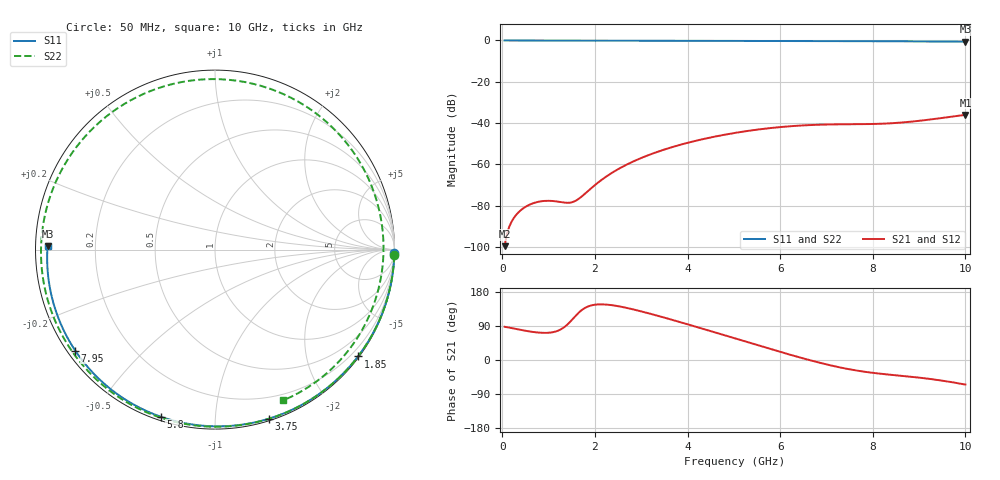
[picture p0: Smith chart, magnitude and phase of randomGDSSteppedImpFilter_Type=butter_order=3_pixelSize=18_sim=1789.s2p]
! freq	dB(S11)	phase(S11)	dB(S12)	phase(S12)
!  dB(S21)	phase(S21)	dB(S22)	phase(S22)
!S-par simulation data
#  GHz  S  DB  R 50
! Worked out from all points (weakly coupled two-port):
!   200 points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, 50 MHz to 10 GHz, reference 50 ohm
!   highest |S21| = -36.01 dB at 10 GHz (marker M1); lowest = -99.6 dB at 50 MHz (marker M2)
!   lowest |S11| = -0.6 dB at 10 GHz (marker M3), VSWR 28.87, Z = 1.73 + j0.533 ohm
!   |S11| at or under -10 dB: nowhere
!   |S22| runs from -0.7 to 0.0 dB; largest |S21 - S12| = 0
!   S11 on the Smith chart (normalised r, x): 50 MHz: open; 1.85 GHz: 0.03, -3.01; 3.75 GHz: 0.02, -1.37; 5.8 GHz: 0.02, -0.73; 7.95 GHz: 0.02, -0.32; 10 GHz: 0.03, +0.01
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0.05  -0.00 -1.0  -99.60 87.6  -99.60 87.6  -0.00 -1.9
0.55  -0.01 -11.1  -79.94 76.1  -79.94 76.1  -0.02 -20.2
0.7  -0.02 -14.1  -78.57 73.4  -78.57 73.4  -0.03 -25.6
1  -0.02 -20.1  -77.63 71.9  -77.63 71.9  -0.04 -36.5
1.45  -0.04 -29.0  -78.57 98.9  -78.57 98.9  -0.07 -52.6
1.75  -0.04 -34.8  -74.89 134.7  -74.89 134.7  -0.08 -63.3
1.85  -0.05 -36.8  -72.92 141.1  -72.92 141.1  -0.08 -66.8
2.5  -0.06 -49.2  -62.34 142.0  -62.34 142.0  -0.11 -89.6
3.4  -0.09 -66.0  -53.55 115.2  -53.55 115.2  -0.16 -121.2
3.75  -0.10 -72.4  -51.10 103.1  -51.10 103.1  -0.18 -133.7
4.45  -0.12 -84.8  -47.20 78.1  -47.20 78.1  -0.23 -159.7
5.05  -0.15 -95.2  -44.67 56.1  -44.67 56.1  -0.28 176.5
5.8  -0.19 -108.0  -42.39 28.7  -42.39 28.7  -0.35 143.7
6.3  -0.22 -116.4  -41.40 11.0  -41.40 11.0  -0.40 119.5
6.7  -0.24 -123.1  -40.91 -2.4  -40.91 -2.4  -0.43 98.8
7.3  -0.29 -133.2  -40.60 -19.8  -40.60 -19.8  -0.48 66.1
7.95  -0.35 -144.2  -40.46 -33.1  -40.46 -33.1  -0.51 30.2
8.35  -0.39 -151.0  -40.15 -38.6  -40.15 -38.6  -0.54 8.9
8.7  -0.43 -157.2  -39.59 -42.7  -39.59 -42.7  -0.56 -8.8
9.05  -0.47 -163.4  -38.79 -47.2  -38.79 -47.2  -0.59 -25.5
9.55  -0.54 -172.6  -37.37 -55.5  -37.37 -55.5  -0.64 -47.6
10  -0.60 178.8  -36.01 -64.8  -36.01 -64.8  -0.71 -65.7
